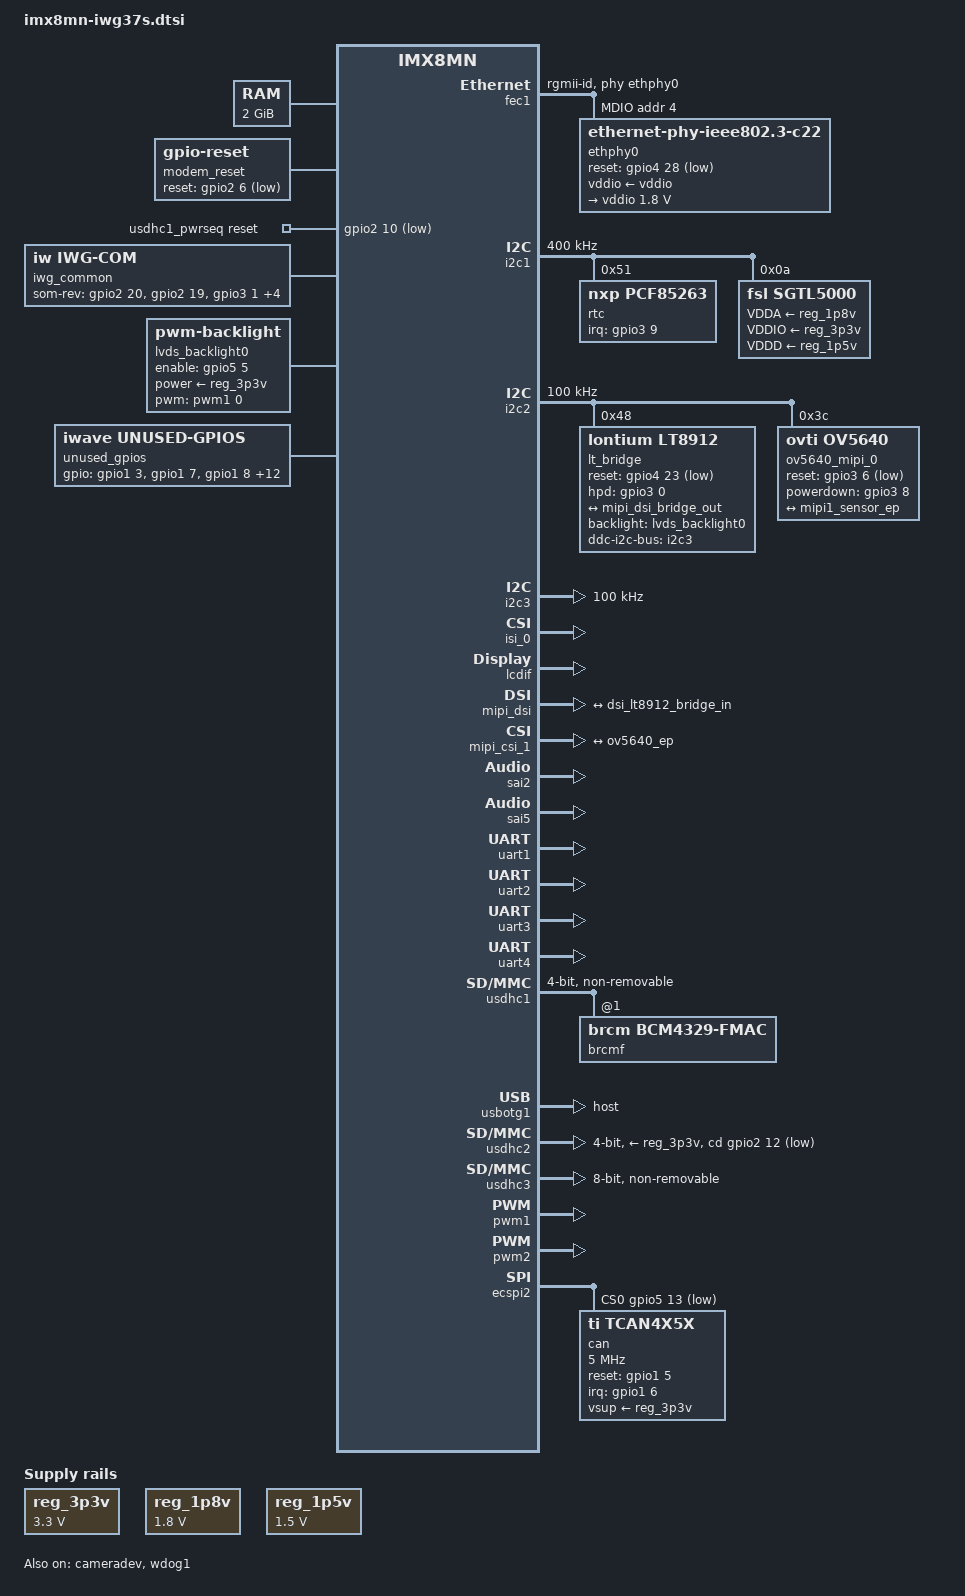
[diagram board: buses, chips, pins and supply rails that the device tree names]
/*
 * Copyright (c) 2022-23 iWave Systems Technologies Pvt. Ltd.
 *
 * This program is free software; you can redistribute it and/or
 * modify it under the terms of the GNU General Public License
 * as published by the Free Software Foundation; either version 2
 * of the License, or (at your option) any later version.
 *
 * This program is distributed in the hope that it will be useful,
 * but WITHOUT ANY WARRANTY; without even the implied warranty of
 * MERCHANTABILITY or FITNESS FOR A PARTICULAR PURPOSE.  See the
 * GNU General Public License for more details.
 */

#include <dt-bindings/usb/pd.h>
#include "imx8mn.dtsi"

/ {
	aliases { /* SD/MMC: eMMC/SD slot numbering fix */
		mmc0 = &usdhc3;
		mmc1 = &usdhc2;
		mmc2 = &usdhc1;
	};

	chosen {
		stdout-path = &uart4;
	};

	memory@40000000 { /* RAM: 2GB Memory support */
		device_type = "memory";
		reg = <0x0 0x40000000 0 0x80000000>;
	};

	modem_reset: modem-reset { /* BT: BT reset */
		compatible = "gpio-reset";
		reset-gpios = <&gpio2 6 GPIO_ACTIVE_LOW>;
		reset-delay-us = <2000>;
		reset-post-delay-ms = <40>;
		#reset-cells = <0>;
	};

	usdhc1_pwrseq: usdhc1_pwrseq { /* WIFI: WIFI power sequence */
		compatible = "mmc-pwrseq-simple";
		pinctrl-names = "default";
		pinctrl-0 = <&pinctrl_usdhc1_gpio>;
		reset-gpios = <&gpio2 10 GPIO_ACTIVE_LOW>;
	};

	clocks {
		#address-cells = <1>;
		#size-cells = <0>;

		hclk: hclock {
			compatible = "fixed-clock";
			#clock-cells = <0>;
			clock-frequency = <40000000>;
			clock-output-names = "hclk";
		};

		cclk: cclock {
			compatible = "fixed-clock";
			#clock-cells = <0>;
			clock-frequency = <40000000>;
			clock-output-names = "cclk";
		};
	};

	sound-hdmi { /* SAI2: HDMI Audio: Audio Codec support */
		compatible = "fsl,hdmi-audio-lt8912";
		model = "hdmi-audio";
		cpu-dai = <&sai2>;
		status = "okay";
	};

	sound { /* SAI5: SGTL5000: Audio Codec support */
		compatible = "simple-audio-card";
		simple-audio-card,name = "sgtl5000";
		simple-audio-card,format = "i2s";
		simple-audio-card,frame-master = <&codecdai>;
		simple-audio-card,bitclock-master = <&codecdai>;
		simple-audio-card,widgets =
			"Microphone", "Microphone Jack",
			"Headphone", "Headphone Jack",
			"Speaker", "Speaker Ext",
			"Line", "Line In Jack";
		simple-audio-card,routing =
			"MIC_IN", "Microphone Jack",
			"Microphone Jack", "Mic Bias",
			"LINE_IN", "Line In Jack",
			"Headphone Jack", "HP_OUT",
			"Speaker Ext", "LINE_OUT";

		simple-audio-card,cpu {
			sound-dai = <&sai5>;
		};

		codecdai: simple-audio-card,codec {
			sound-dai = <&sgtl5000>;
			clocks = <&clk IMX8MN_CLK_SAI5_ROOT>;
		};
	};

	iwg_common { /* SoC Board Setttings : Board Configuration GPIOs */
		compatible = "iw,iwg-com";
		pinctrl-names = "default";
		pcb_rev = <0>;
		bom_rev = <0>;
		carrier_bom = <0>;
		carrier_pcb = <0>;
		pinctrl-0 = <&pinctrl_board_cfg>;
		som-rev-gpios = <&gpio2 20 0 &gpio2 19 0 &gpio3 1 0 &gpio1 0 0 
			       &gpio1 10 0 &gpio1 11 0 &gpio1 9 0 >;
		status = "okay";
	};

	regulators {
		compatible = "simple-bus";
		#address-cells = <1>;
		#size-cells = <0>;

		reg_3p3v: 3p3v { /* Fixed Regulator: common 3.3V Fixed regulator */
			compatible = "regulator-fixed";
			regulator-name = "3P3V";
			regulator-min-microvolt = <3300000>;
			regulator-max-microvolt = <3300000>;
			regulator-always-on;
		};

		reg_1p8v: 1p8v { /* Fixed Regulator: common 1.8V Fixed regulator */
			compatible = "regulator-fixed";
			regulator-name = "1P8V";
			regulator-min-microvolt = <1800000>;
			regulator-max-microvolt = <1800000>;
			regulator-always-on;
		};

		reg_1p5v: 1p5v { /* Fixed Regulator: common 1.5V Fixed regulator */
			compatible = "regulator-fixed";
			regulator-name = "1P5V";
			regulator-min-microvolt = <1500000>;
			regulator-max-microvolt = <1500000>;
			regulator-always-on;
		};
	};

	lvds_backlight0: lvds_backlight { /* LVDS: LVDS Backlight */
		compatible = "pwm-backlight";
		pwms = <&pwm1 0 1000000>;
		power-supply = <&reg_3p3v>;
		pinctrl-names = "default";
		pinctrl-0 = <&pinctrl_pwr>;
		enable-gpios = <&gpio5 5 GPIO_ACTIVE_HIGH>;
		status = "okay";

		brightness-levels = < 0  1  2  3  4  5  6  7  8  9
				     10 11 12 13 14 15 16 17 18 19
				     20 21 22 23 24 25 26 27 28 29
				     30 31 32 33 34 35 36 37 38 39
				     40 41 42 43 44 45 46 47 48 49
				     50 51 52 53 54 55 56 57 58 59
				     60 61 62 63 64 65 66 67 68 69
				     70 71 72 73 74 75 76 77 78 79
				     80 81 82 83 84 85 86 87 88 89
				     90 91 92 93 94 95 96 97 98 99
				    100>;
		default-brightness-level = <100>;
	};

	unused_gpios: unused_gpios { /* GPIO: Setting Unused GPIOs as input pins */
		compatible = "iwave,unused-gpios";
		pinctrl-names = "default";
		pinctrl-0 = <&pinctrl_unused_gpio>;
		status = "okay";
	};
};

&cameradev {
	status = "okay";
};

&fec1 { /* FEC1: AR8031 PHY ENET */
	pinctrl-names = "default";
	pinctrl-0 = <&pinctrl_fec1>;
	phy-mode = "rgmii-id";
	phy-handle = <&ethphy0>;
	fsl,magic-packet;
	status = "okay";

	mdio {
		#address-cells = <1>;
		#size-cells = <0>;

		ethphy0: ethernet-phy@4 {
			compatible = "ethernet-phy-ieee802.3-c22";
			reg = <4>;
			reset-gpios = <&gpio4 28 GPIO_ACTIVE_LOW>;
                        qca,disable-smarteee;
                        vddio-supply = <&vddio>;

                        vddio: vddio-regulator {
                                regulator-min-microvolt = <1800000>;
                                regulator-max-microvolt = <1800000>;
                        };
		};
	};
};

&i2c1 { /* I2C1 Bus */
	clock-frequency = <400000>;
	pinctrl-names = "default";
	pinctrl-0 = <&pinctrl_i2c1>;
	status = "okay";

	rtc: rtc@51 { /* RTC: PCF85263 RTC */
		reg = <0x51>;
		compatible = "nxp,pcf85263";
		pinctrl-names = "default";
		pinctrl-0 = <&pinctrl_rtc>;
		interrupt-parent = <&gpio3>;
		interrupts = <9 IRQ_TYPE_LEVEL_LOW>;
		status = "okay";
	};

	sgtl5000: sgtl5000@a { /* Audio: SGTL5000 Audio Codec */
		compatible = "fsl,sgtl5000";
		reg = <0x0a>;
		#sound-dai-cells = <0>;
		clocks = <&clk IMX8MN_CLK_SAI5_ROOT>;
		assigned-clocks = <&clk IMX8MN_CLK_SAI5>;
		assigned-clock-parents = <&clk IMX8MN_AUDIO_PLL1_OUT>;
		assigned-clock-rates = <24576000>;
		VDDA-supply = <&reg_1p8v>;
		VDDIO-supply = <&reg_3p3v>;
		VDDD-supply = <&reg_1p5v>;
		status = "okay";
	};
};

&i2c2 { /* I2C2 Bus */
	clock-frequency = <100000>; /* Since Display bridge is connected in this i2c bus, it's max i2c speed is 100KHz */
	pinctrl-names = "default";
	pinctrl-0 = <&pinctrl_i2c2>;
	status = "okay";

	lt_bridge: lt8912@48 { /* LT8912: MIPI-DSI to HDMI/LVDS Bridge */
		compatible = "lontium,lt8912";
		reg = <0x48>;
		pinctrl-names = "default";
		pinctrl-0 = <&pinctrl_lt8912>;
		ddc-i2c-bus = <&i2c3>;
		reset-gpios = <&gpio4 23 GPIO_ACTIVE_LOW>;
		hpd-gpios = <&gpio3 0 GPIO_ACTIVE_HIGH>;
		digi,dsi-lanes = <4>;
		backlight = <&lvds_backlight0>;
		status = "okay";

	display-timings {
		native-mode = <&timing0>;
		timing0: timing0 {
			clock-frequency = <70000000>;
			hactive = <1280>;
			vactive = <800>;
			hback-porch = <70>;
			hfront-porch = <70>;
			vback-porch = <8>;
			vfront-porch = <8>;
			hsync-len = <20>;
			vsync-len = <7>;
			hsync-active = <0>;
			vsync-active = <0>;
			de-active = <0>;
			pixelclk-active = <0>;
		};
	};

	port {
		dsi_lt8912_bridge_in: endpoint {
			remote-endpoint = <&mipi_dsi_bridge_out>;
			};
		};
	};

	ov5640_mipi_0: ov5640_mipi@3c { /* MIPI CSI: OV5640 Camera */
		compatible = "ovti,ov5640";
		reg = <0x3c>;
		pinctrl-names = "default";
		pinctrl-0 = <&pinctrl_csi_rst>;
		clocks = <&clk IMX8MN_CLK_CLKO1>;
		clock-names = "xclk";
		assigned-clocks = <&clk IMX8MN_CLK_CLKO1>;
		assigned-clock-parents = <&clk IMX8MN_CLK_24M>;
		assigned-clock-rates = <24000000>;
		csi_id = <0>;
		reset-gpios = <&gpio3 6 GPIO_ACTIVE_LOW>;
		powerdown-gpios = <&gpio3 8 GPIO_ACTIVE_HIGH>;
		mclk = <24000000>;
		mclk_source = <0>;
		mipi_csi;
		status = "okay";
		port {
			ov5640_ep: endpoint {
				remote-endpoint = <&mipi1_sensor_ep>;
				data-lanes = <1 2>;
				clocks-lanes = <0>;
			};
		};
	};
};

&i2c3 { /* I2C3 Bus */
	clock-frequency = <100000>; /* Since HDMI DDC is connected to this i2c bus, it's max i2c speed is 100KHz */
	pinctrl-names = "default";
	pinctrl-0 = <&pinctrl_i2c3>;
	status = "okay";
};

&isi_0 {
	status = "okay";

	cap_device {
		status = "okay";
	};
};

&lcdif {
	status = "okay";
};

&mipi_dsi { /* MIPI DSI: HDMI/LVDS Display */
	status = "okay";

	port@1 {
		mipi_dsi_bridge_out: endpoint {
			remote-endpoint = <&dsi_lt8912_bridge_in>;
			attach-bridge;
		};
	};
};

&mipi_csi_1 { /* MIPI CSI: OV5640 MIPI Camera */
	#address-cells = <1>;
	#size-cells = <0>;
	status = "okay";
	port@0 {
		reg = <0>;
		mipi1_sensor_ep: endpoint {
			remote-endpoint = <&ov5640_ep>;
			data-lanes = <2>;
			csis-hs-settle = <13>;
			csis-clk-settle = <2>;
			csis-wclk;
		};
	};
};

&sai2 { /* SAI2: Serial Audio Interface for Audio Codec */
	pinctrl-names = "default";
	pinctrl-0 = <&pinctrl_sai2>;
	assigned-clocks = <&clk IMX8MN_CLK_SAI2>;
	assigned-clock-parents = <&clk IMX8MN_AUDIO_PLL1_OUT>;
	assigned-clock-rates = <49152000>;
	clocks = <&clk IMX8MN_CLK_SAI2_IPG>, <&clk IMX8MN_CLK_DUMMY>,
		<&clk IMX8MN_CLK_SAI2_ROOT>, <&clk IMX8MN_CLK_DUMMY>,
		<&clk IMX8MN_CLK_DUMMY>, <&clk IMX8MN_AUDIO_PLL1_OUT>,
		<&clk IMX8MN_AUDIO_PLL2_OUT>;
	clock-names = "bus", "mclk0", "mclk1", "mclk2", "mclk3", "pll8k", "pll11k";
	fsl,sai-asynchronous;
	status = "okay";
};

&sai5 { /* SAI5: Serial Audio Interface for Audio Codec */
	#sound-dai-cells = <0>;
	pinctrl-names = "default";
	pinctrl-0 = <&pinctrl_sai5>;
	assigned-clocks = <&clk IMX8MN_CLK_SAI5>;
	assigned-clock-parents = <&clk IMX8MN_AUDIO_PLL1_OUT>;
	assigned-clock-rates = <49152000>;
	clocks = <&clk IMX8MN_CLK_SAI5_IPG>, <&clk IMX8MN_CLK_DUMMY>,
		<&clk IMX8MN_CLK_SAI5_ROOT>, <&clk IMX8MN_CLK_DUMMY>,
		<&clk IMX8MN_CLK_DUMMY>, <&clk IMX8MN_AUDIO_PLL1_OUT>,
		<&clk IMX8MN_AUDIO_PLL2_OUT>;
	clock-names = "bus", "mclk0", "mclk1", "mclk2", "mclk3", "pll8k", "pll11k";
        fsl,sai-multi-lane;
        dmas = <&sdma2 8 25 0>, <&sdma2 9 25 0>;
	status = "okay";
};

&uart1 { /* UART1: BT */
	pinctrl-names = "default";
	pinctrl-0 = <&pinctrl_uart1>;
	assigned-clocks = <&clk IMX8MN_CLK_UART1>;
	assigned-clock-parents = <&clk IMX8MN_SYS_PLL1_80M>;
	fsl,uart-has-rtscts;
	resets = <&modem_reset>;
	status = "okay";
};

&uart2 { /* UART2: DATA UART */
	pinctrl-names = "default";
	pinctrl-0 = <&pinctrl_uart2>;
	fsl,uart-has-rtscts;
	status = "okay";
};

&uart3 { /* UART3: GNSS */
	pinctrl-names = "default";
	pinctrl-0 = <&pinctrl_uart3>;
	assigned-clocks = <&clk IMX8MN_CLK_UART3>;
	assigned-clock-parents = <&clk IMX8MN_SYS_PLL1_80M>;
	status = "okay";
};

&uart4 { /* UART4: Debug UART */
	pinctrl-names = "default";
	pinctrl-0 = <&pinctrl_uart4>;
	status = "okay";
};

&usdhc1 { /* USDHC1: WiFi */
	#address-cells = <1>;
	#size-cells = <0>;
	pinctrl-names = "default", "state_100mhz", "state_200mhz";
	pinctrl-0 = <&pinctrl_usdhc1>, <&pinctrl_wlan>;
	pinctrl-1 = <&pinctrl_usdhc1_100mhz>, <&pinctrl_wlan>;
	pinctrl-2 = <&pinctrl_usdhc1_200mhz>, <&pinctrl_wlan>;
	bus-width = <4>;
	keep-power-in-suspend;
	non-removable;
	wakeup-source;
	/delete-property/ vmmc-supply;
	mmc-pwrseq = <&usdhc1_pwrseq>;
  	fsl,sdio-async-interrupt-enabled;
	status = "okay";

	brcmf: bcrmf@1 {
		compatible = "brcm,bcm4329-fmac";
		status = "okay";
	};
};

&usbotg1 { /* USB: USB Host (2 ports via HUB) */
	dr_mode = "host";
	disable-over-current;
	status = "okay";
};

&usdhc2 { /* USDHC2: Micro SD */
	assigned-clocks = <&clk IMX8MN_CLK_USDHC2>;
	assigned-clock-rates = <200000000>;
	pinctrl-names = "default", "state_100mhz", "state_200mhz";
	pinctrl-0 = <&pinctrl_usdhc2>, <&pinctrl_usdhc2_gpio>;
	pinctrl-1 = <&pinctrl_usdhc2_100mhz>, <&pinctrl_usdhc2_gpio>;
	pinctrl-2 = <&pinctrl_usdhc2_200mhz>, <&pinctrl_usdhc2_gpio>;
	cd-gpios = <&gpio2 12 GPIO_ACTIVE_LOW>;
	bus-width = <4>;
	vmmc-supply = <&reg_3p3v>;
	status = "okay";
};

&usdhc3 { /* USDHC3: EMMC */
	assigned-clocks = <&clk IMX8MN_CLK_USDHC3_ROOT>;
	assigned-clock-rates = <400000000>;
	pinctrl-names = "default", "state_100mhz", "state_200mhz";
	pinctrl-0 = <&pinctrl_usdhc3>;
	pinctrl-1 = <&pinctrl_usdhc3_100mhz>;
	pinctrl-2 = <&pinctrl_usdhc3_200mhz>;
	bus-width = <8>;
	non-removable;
	status = "okay";
};

&wdog1 { /* Watchdog */
	pinctrl-names = "default";
	pinctrl-0 = <&pinctrl_wdog>;
	fsl,ext-reset-output;
	status = "okay";
};

&pwm1 { /* PWM */
	pinctrl-names = "default";
	pinctrl-0 = <&pinctrl_pwm>;
	status = "okay";
};

&pwm2 { /* PWM */
	pinctrl-names = "default";
	pinctrl-0 = <&pinctrl_pwm2>;
	status = "okay";
};

&ecspi2{ /* ECSPI2 */
	pinctrl-names = "default";
	pinctrl-0 = <&pinctrl_ecspi2>;
	spi-max-frequency = <20000000>;
	cs-gpios = <&gpio5 13 GPIO_ACTIVE_LOW>;
	fsl,spi-num-chipselects = <1>;
	status = "okay";

	can: can@0 {
		compatible = "ti,tcan4x5x";
		reg = <0>;
		pinctrl-names = "default";
		pinctrl-0 = <&pinctrl_can>;
		interrupt-parent = <&gpio1>;
		interrupts = <6 IRQ_TYPE_LEVEL_LOW>;
		clocks = <&hclk>, <&cclk>;
		clock-names = "hclk", "cclk";
		#address-cells = <1>;
		#size-cells = <1>;
		spi-max-frequency = <5000000>;
		bosch,mram-cfg = <0x0 0 0 32 0 0 1 1>;
		reset-gpios = <&gpio1 5 GPIO_ACTIVE_HIGH>;
		vsup-supply = <&reg_3p3v>;
	};
};

&unused_gpios { /* GPIO: iWave Unused GPIO pins */
	gpios = <&gpio1 3 0>,
	      <&gpio1 7 0>,
	      <&gpio1 8 0>,
	      <&gpio1 12 0>,
	      <&gpio1 13 0>,
	      <&gpio1 14 0>,
	      <&gpio2 11 0>,
	      <&gpio3 7 0>,
	      <&gpio4 21 0>,
	      <&gpio4 22 0>,
	      <&gpio4 27 0>,
	      <&gpio5 3 0>,
	      <&gpio5 8 0>,
	      <&gpio5 24 0>,
	      <&gpio5 25 0>;
};

&iomuxc {
	pinctrl-names = "default";
	pinctrl-0 = <&pinctrl_expansion>;

	imx8mn-iwg37s {
		pinctrl_lt8912: lt8912grp { /* LT8912 Bridge: IOMUX Pin Configuration */
			fsl,pins = <
				MX8MN_IOMUXC_SAI2_RXD0_GPIO4_IO23		0x19 /* Interrupt GPIO */
				MX8MN_IOMUXC_NAND_ALE_GPIO3_IO0			0x19 /* Reset GPIO */
			>;
		};

		pinctrl_csi_rst: csi_rst_grp { /* MIPI CSI: OV5640 Camera IOMUX Pin Configuration */
			fsl,pins = <
				MX8MN_IOMUXC_NAND_DATA00_GPIO3_IO6		0x19 /* OV5640 Camera Reset GPIO */
				MX8MN_IOMUXC_NAND_DATA02_GPIO3_IO8		0x19 /* OV5640 Power Down GPIO */
			>;
		};

		pinctrl_fec1: fec1grp { /* Ethernet: IOMUX Pin Configuration */
			fsl,pins = <
				MX8MN_IOMUXC_ENET_MDC_ENET1_MDC			0x3
				MX8MN_IOMUXC_ENET_MDIO_ENET1_MDIO		0x3
				MX8MN_IOMUXC_ENET_TD3_ENET1_RGMII_TD3		0x1f
				MX8MN_IOMUXC_ENET_TD2_ENET1_RGMII_TD2		0x1f
				MX8MN_IOMUXC_ENET_TD1_ENET1_RGMII_TD1		0x1f
				MX8MN_IOMUXC_ENET_TD0_ENET1_RGMII_TD0		0x1f
				MX8MN_IOMUXC_ENET_RD3_ENET1_RGMII_RD3		0x91
				MX8MN_IOMUXC_ENET_RD2_ENET1_RGMII_RD2		0x91
				MX8MN_IOMUXC_ENET_RD1_ENET1_RGMII_RD1		0x91
				MX8MN_IOMUXC_ENET_RD0_ENET1_RGMII_RD0		0x91
				MX8MN_IOMUXC_ENET_TXC_ENET1_RGMII_TXC		0x1f
				MX8MN_IOMUXC_ENET_RXC_ENET1_RGMII_RXC		0x91
				MX8MN_IOMUXC_ENET_RX_CTL_ENET1_RGMII_RX_CTL	0x91
				MX8MN_IOMUXC_ENET_TX_CTL_ENET1_RGMII_TX_CTL	0x1f
				MX8MN_IOMUXC_SAI5_RXC_GPIO3_IO20		0x19 /* Ethernet Wake on LAN */
				MX8MN_IOMUXC_SAI5_RXFS_GPIO3_IO19		0x19 /* Ethernet Interrupt */
				MX8MN_IOMUXC_SAI3_RXFS_GPIO4_IO28		0x19 /* Ethernet Reset GPIO */
			>;
		};

		pinctrl_i2c1: i2c1grp { /* I2C1: IOMUX Pin Configuration */
			fsl,pins = <
				MX8MN_IOMUXC_I2C1_SCL_I2C1_SCL		0x400001c3
				MX8MN_IOMUXC_I2C1_SDA_I2C1_SDA		0x400001c3
			>;
		};

		pinctrl_i2c2: i2c2grp { /* I2C2: IOMUX Pin Configuration */
			fsl,pins = <
				MX8MN_IOMUXC_I2C2_SCL_I2C2_SCL		0x400001c3
				MX8MN_IOMUXC_I2C2_SDA_I2C2_SDA		0x400001c3
			>;
		};

		pinctrl_i2c3: i2c3grp { /* I2C3: IOMUX Pin Configuration */
			fsl,pins = <
				MX8MN_IOMUXC_I2C3_SCL_I2C3_SCL		0x400001c3
				MX8MN_IOMUXC_I2C3_SDA_I2C3_SDA		0x400001c3
			>;
		};

		pinctrl_can: cangrp { /* CAN: IOMUX Pin Configuration */
			fsl,pins = <
				MX8MN_IOMUXC_GPIO1_IO05_GPIO1_IO5               0x41 /* CAN Interrupt GPIO */
				MX8MN_IOMUXC_GPIO1_IO06_GPIO1_IO6               0x41 /* CAN Reset GPIO */
			>;
		};

		pinctrl_pmic: pmicirqgrp { /* PMIC: IOMUX Pin Configuration */
			fsl,pins = <
				MX8MN_IOMUXC_NAND_DQS_GPIO3_IO14	0x141 /* PMIC Interrupt GPIO */
			>;
		};

		pinctrl_rtc: rtcirq { /* RTC: IOMUX Pin Configuration */
			fsl,pins = <
				MX8MN_IOMUXC_NAND_DATA03_GPIO3_IO9	0x41 /* RTC Interrupt GPIO */
			>;
		};

		pinctrl_sai2: sai2grp { /* SAI2: IOMUX Pin Configuration */
			fsl,pins = <
				MX8MN_IOMUXC_SAI2_TXC_SAI2_TX_BCLK      0xd6
				MX8MN_IOMUXC_SAI2_TXFS_SAI2_TX_SYNC     0xd6
				MX8MN_IOMUXC_SAI2_TXD0_SAI2_TX_DATA0    0xd6
			>;
		};

		pinctrl_sai5: sai5grp { /* SAI5: IOMUX Pin Configuration */
			fsl,pins = <
				MX8MN_IOMUXC_SAI5_RXD2_SAI5_TX_BCLK	0xd6
				MX8MN_IOMUXC_SAI5_RXD1_SAI5_TX_SYNC     0xd6
				MX8MN_IOMUXC_SAI5_RXD3_SAI5_TX_DATA0    0xd6
				MX8MN_IOMUXC_SAI5_RXD0_SAI5_RX_DATA0    0xd6
				MX8MN_IOMUXC_SAI5_MCLK_SAI5_MCLK	0xd6
			>;
		};

		pinctrl_uart1: uart1grp { /* UART1: Bluetooth: IOMUX Pin Configuration */
			fsl,pins = <
				MX8MN_IOMUXC_UART1_RXD_UART1_DCE_RX	0x140
				MX8MN_IOMUXC_UART1_TXD_UART1_DCE_TX	0x140
				MX8MN_IOMUXC_UART3_RXD_UART1_DCE_CTS_B	0x140
				MX8MN_IOMUXC_UART3_TXD_UART1_DCE_RTS_B	0x140
				MX8MN_IOMUXC_SD1_DATA4_GPIO2_IO6	0x19 /* Bluetooth reset GPIO */
				MX8MN_IOMUXC_SD1_DATA5_GPIO2_IO7	0x19 /* Bluetooth Device Wake GPIO */
				MX8MN_IOMUXC_SD1_DATA6_GPIO2_IO8	0x19 /* Bluetooth Host Wake GPIO */
			>;
		};

		pinctrl_uart2: uart2grp { /* UART2: DATA UART: IOMUX Pin Configuration */
			fsl,pins = <
				MX8MN_IOMUXC_SAI3_TXC_UART2_DCE_TX	0x140
				MX8MN_IOMUXC_SAI3_TXFS_UART2_DCE_RX	0x140
				MX8MN_IOMUXC_SAI3_RXC_UART2_DCE_CTS_B	0x140
				MX8MN_IOMUXC_SAI3_RXD_UART2_DCE_RTS_B	0x140
			>;
		};

		pinctrl_uart3: uart3grp { /* UART3: GNSS: IOMUX Pin Configuration */
			fsl,pins = <
				MX8MN_IOMUXC_ECSPI1_SCLK_UART3_DCE_RX	0x140 /* Expansion connector Pin 18 (optionally used for GNSS ) */
				MX8MN_IOMUXC_ECSPI1_MOSI_UART3_DCE_TX	0x140 /* Expansion connector Pin 16 (optionally used for GNSS ) */
				MX8MN_IOMUXC_ECSPI1_SS0_UART3_DCE_RTS_B	0x140 /* Expansion connector Pin 36 (optionally used for GNSS ) */
			>;
		};

		pinctrl_uart4: uart4grp { /* UART4: Debug UART: IOMUX Pin Configuration */
			fsl,pins = <
				MX8MN_IOMUXC_UART4_RXD_UART4_DCE_RX		0x140
				MX8MN_IOMUXC_UART4_TXD_UART4_DCE_TX		0x140
			>;
		};

		pinctrl_usdhc1_gpio: usdhc1grpgpio { /* USDHC1: WiFi: IOMUX Pin Configuration */
			fsl,pins = <
				MX8MN_IOMUXC_SD1_RESET_B_GPIO2_IO10	0x41 /* WIFI Reset GPIO */
			>;
		};

		pinctrl_usdhc1: usdhc1grp { /* USDHC1: WiFi: IOMUX Pin Configuration */
			fsl,pins = <
				MX8MN_IOMUXC_SD1_CLK_USDHC1_CLK		0x190
				MX8MN_IOMUXC_SD1_CMD_USDHC1_CMD		0x1d0
				MX8MN_IOMUXC_SD1_DATA0_USDHC1_DATA0	0x1d0
				MX8MN_IOMUXC_SD1_DATA1_USDHC1_DATA1	0x1d0
				MX8MN_IOMUXC_SD1_DATA2_USDHC1_DATA2	0x1d0
				MX8MN_IOMUXC_SD1_DATA3_USDHC1_DATA3	0x1d0
			>;
		};

		pinctrl_usdhc1_100mhz: usdhc1grp100mhz {
			fsl,pins = <
				MX8MN_IOMUXC_SD1_CLK_USDHC1_CLK		0x194
				MX8MN_IOMUXC_SD1_CMD_USDHC1_CMD		0x1d4
				MX8MN_IOMUXC_SD1_DATA0_USDHC1_DATA0	0x1d4
				MX8MN_IOMUXC_SD1_DATA1_USDHC1_DATA1	0x1d4
				MX8MN_IOMUXC_SD1_DATA2_USDHC1_DATA2	0x1d4
				MX8MN_IOMUXC_SD1_DATA3_USDHC1_DATA3	0x1d4
			>;
		};

		pinctrl_usdhc1_200mhz: usdhc1grp200mhz {
			fsl,pins = <
				MX8MN_IOMUXC_SD1_CLK_USDHC1_CLK		0x196
				MX8MN_IOMUXC_SD1_CMD_USDHC1_CMD		0x1d6
				MX8MN_IOMUXC_SD1_DATA0_USDHC1_DATA0	0x1d6
				MX8MN_IOMUXC_SD1_DATA1_USDHC1_DATA1	0x1d6
				MX8MN_IOMUXC_SD1_DATA2_USDHC1_DATA2	0x1d6
				MX8MN_IOMUXC_SD1_DATA3_USDHC1_DATA3	0x1d6
			>;
		};

		pinctrl_usdhc2_gpio: usdhc2grpgpio {
			fsl,pins = <
				MX8MN_IOMUXC_SD2_CD_B_GPIO2_IO12	0x1c4
			>;
		};

		pinctrl_usdhc2: usdhc2grp { /* USDHC2: Micro SD: IOMUX Pin Configuration */
			fsl,pins = <
				MX8MN_IOMUXC_SD2_CLK_USDHC2_CLK		0x190
				MX8MN_IOMUXC_SD2_CMD_USDHC2_CMD		0x1d0
				MX8MN_IOMUXC_SD2_DATA0_USDHC2_DATA0	0x1d0
				MX8MN_IOMUXC_SD2_DATA1_USDHC2_DATA1	0x1d0
				MX8MN_IOMUXC_SD2_DATA2_USDHC2_DATA2	0x1d0
				MX8MN_IOMUXC_SD2_DATA3_USDHC2_DATA3	0x1d0
				MX8MN_IOMUXC_GPIO1_IO04_USDHC2_VSELECT	0x1d0
			>;
		};

		pinctrl_usdhc2_100mhz: usdhc2-100mhzgrp {
			fsl,pins = <
				MX8MN_IOMUXC_SD2_CLK_USDHC2_CLK		0x194
				MX8MN_IOMUXC_SD2_CMD_USDHC2_CMD		0x1d4
				MX8MN_IOMUXC_SD2_DATA0_USDHC2_DATA0	0x1d4
				MX8MN_IOMUXC_SD2_DATA1_USDHC2_DATA1	0x1d4
				MX8MN_IOMUXC_SD2_DATA2_USDHC2_DATA2	0x1d4
				MX8MN_IOMUXC_SD2_DATA3_USDHC2_DATA3	0x1d4
				MX8MN_IOMUXC_GPIO1_IO04_USDHC2_VSELECT	0x1d0
			>;
		};

		pinctrl_usdhc2_200mhz: usdhc2-200mhzgrp {
			fsl,pins = <
				MX8MN_IOMUXC_SD2_CLK_USDHC2_CLK		0x196
				MX8MN_IOMUXC_SD2_CMD_USDHC2_CMD		0x1d6
				MX8MN_IOMUXC_SD2_DATA0_USDHC2_DATA0	0x1d6
				MX8MN_IOMUXC_SD2_DATA1_USDHC2_DATA1	0x1d6
				MX8MN_IOMUXC_SD2_DATA2_USDHC2_DATA2	0x1d6
				MX8MN_IOMUXC_SD2_DATA3_USDHC2_DATA3	0x1d6
				MX8MN_IOMUXC_GPIO1_IO04_USDHC2_VSELECT	0x1d0
			>;
		};

		pinctrl_usdhc3: usdhc3grp { /* USDHC3: EMMC: IOMUX Pin Configuration*/
			fsl,pins = <
				MX8MN_IOMUXC_NAND_WE_B_USDHC3_CLK		0x40000190
				MX8MN_IOMUXC_NAND_WP_B_USDHC3_CMD		0x1d0
				MX8MN_IOMUXC_NAND_DATA04_USDHC3_DATA0		0x1d0
				MX8MN_IOMUXC_NAND_DATA05_USDHC3_DATA1		0x1d0
				MX8MN_IOMUXC_NAND_DATA06_USDHC3_DATA2		0x1d0
				MX8MN_IOMUXC_NAND_DATA07_USDHC3_DATA3		0x1d0
				MX8MN_IOMUXC_NAND_RE_B_USDHC3_DATA4		0x1d0
				MX8MN_IOMUXC_NAND_CE2_B_USDHC3_DATA5		0x1d0
				MX8MN_IOMUXC_NAND_CE3_B_USDHC3_DATA6		0x1d0
				MX8MN_IOMUXC_NAND_CLE_USDHC3_DATA7		0x1d0
				MX8MN_IOMUXC_NAND_READY_B_USDHC3_RESET_B	0x1d0
				MX8MN_IOMUXC_NAND_CE1_B_USDHC3_STROBE		0x190
			>;
		};

		pinctrl_usdhc3_100mhz: usdhc3-100mhzgrp {
			fsl,pins = <
				MX8MN_IOMUXC_NAND_WE_B_USDHC3_CLK		0x40000194
				MX8MN_IOMUXC_NAND_WP_B_USDHC3_CMD		0x1d4
				MX8MN_IOMUXC_NAND_DATA04_USDHC3_DATA0		0x1d4
				MX8MN_IOMUXC_NAND_DATA05_USDHC3_DATA1		0x1d4
				MX8MN_IOMUXC_NAND_DATA06_USDHC3_DATA2		0x1d4
				MX8MN_IOMUXC_NAND_DATA07_USDHC3_DATA3		0x1d4
				MX8MN_IOMUXC_NAND_RE_B_USDHC3_DATA4		0x1d4
				MX8MN_IOMUXC_NAND_CE2_B_USDHC3_DATA5		0x1d4
				MX8MN_IOMUXC_NAND_CE3_B_USDHC3_DATA6		0x1d4
				MX8MN_IOMUXC_NAND_CLE_USDHC3_DATA7		0x1d4
				MX8MN_IOMUXC_NAND_READY_B_USDHC3_RESET_B	0x1d4
				MX8MN_IOMUXC_NAND_CE1_B_USDHC3_STROBE		0x194
			>;
		};

		pinctrl_usdhc3_200mhz: usdhc3-200mhzgrp {
			fsl,pins = <
				MX8MN_IOMUXC_NAND_WE_B_USDHC3_CLK		0x40000196
				MX8MN_IOMUXC_NAND_WP_B_USDHC3_CMD		0x1d6
				MX8MN_IOMUXC_NAND_DATA04_USDHC3_DATA0		0x1d6
				MX8MN_IOMUXC_NAND_DATA05_USDHC3_DATA1		0x1d6
				MX8MN_IOMUXC_NAND_DATA06_USDHC3_DATA2		0x1d6
				MX8MN_IOMUXC_NAND_DATA07_USDHC3_DATA3		0x1d6
				MX8MN_IOMUXC_NAND_RE_B_USDHC3_DATA4		0x1d6
				MX8MN_IOMUXC_NAND_CE2_B_USDHC3_DATA5		0x1d6
				MX8MN_IOMUXC_NAND_CE3_B_USDHC3_DATA6		0x1d6
				MX8MN_IOMUXC_NAND_CLE_USDHC3_DATA7		0x1d6
				MX8MN_IOMUXC_NAND_READY_B_USDHC3_RESET_B	0x1d6
				MX8MN_IOMUXC_NAND_CE1_B_USDHC3_STROBE		0x196
			>;
		};

		pinctrl_wdog: wdoggrp { /* wdog0: IOMUX Pin Configuration */
			fsl,pins = <
				MX8MN_IOMUXC_GPIO1_IO02_WDOG1_WDOG_B		0x166
			>;
		};

		pinctrl_wlan: wlangrp {
			fsl,pins = <
				MX8MN_IOMUXC_SD1_DATA7_GPIO2_IO9		0x111
			>;
		};

		pinctrl_pwm: pwm { /* LVDS Backlight PWM IOMUX Pin Configuration */
			fsl,pins = <
				MX8MN_IOMUXC_I2C4_SDA_PWM1_OUT			0x19
			>;
		};

		pinctrl_pwm2: pwm2 { /* PWM-2: IOMUX Pin Configuration */
			fsl,pins = <
				MX8MN_IOMUXC_I2C4_SCL_PWM2_OUT                  0x19 /* Expansion connector Pin 32 */
			>;
		};

		pinctrl_ecspi2: ecspi2grp { /* ECSPI2: CAN IOMUX Pin Configuration */
			fsl,pins = <
				MX8MN_IOMUXC_ECSPI2_SCLK_ECSPI2_SCLK            0x140
				MX8MN_IOMUXC_ECSPI2_MOSI_ECSPI2_MOSI            0x140
				MX8MN_IOMUXC_ECSPI2_MISO_ECSPI2_MISO            0x140  
				MX8MN_IOMUXC_ECSPI2_SS0_GPIO5_IO13		0x41
			>;
		};

		pinctrl_board_cfg: brd_cfg { /* SoC Board Settings: IOMUX Pin Configuration */
			fsl,pins = <
				MX8MN_IOMUXC_SD2_WP_GPIO2_IO20			0x1d0
				MX8MN_IOMUXC_SD2_RESET_B_GPIO2_IO19		0x1d5
				MX8MN_IOMUXC_NAND_CE0_B_GPIO3_IO1		0x1d5
				MX8MN_IOMUXC_GPIO1_IO00_GPIO1_IO0		0x1d5
				MX8MN_IOMUXC_GPIO1_IO10_GPIO1_IO10		0x1d5
				MX8MN_IOMUXC_GPIO1_IO11_GPIO1_IO11		0x1d5
				MX8MN_IOMUXC_GPIO1_IO09_GPIO1_IO9		0x1d5
			>;
		};

		pinctrl_pwr:pwr { /* LVDS Backlight IOMUX Pin Configuration */
			fsl,pins = <
				MX8MN_IOMUXC_SPDIF_EXT_CLK_GPIO5_IO5		0x140
			>; 
		};

		pinctrl_unused_gpio: unused_gpiogrp{ /* Unused GPIO IOMUX Pin Configuration */
			fsl,pins = <
				MX8MN_IOMUXC_GPIO1_IO03_GPIO1_IO3	0x41
				MX8MN_IOMUXC_GPIO1_IO07_GPIO1_IO7	0x41
				MX8MN_IOMUXC_GPIO1_IO08_GPIO1_IO8	0x41
				MX8MN_IOMUXC_GPIO1_IO12_GPIO1_IO12	0x140 /* Unused gpio (optionally used as GNSS Time pulse GPIO) */
				MX8MN_IOMUXC_GPIO1_IO13_GPIO1_IO13	0x41
				MX8MN_IOMUXC_GPIO1_IO14_GPIO1_IO14	0x140 /* Unused gpio (optionally used as GNSS Reset GPIO) */
				MX8MN_IOMUXC_SD1_STROBE_GPIO2_IO11	0x41
				MX8MN_IOMUXC_NAND_DATA01_GPIO3_IO7	0x41
				MX8MN_IOMUXC_SAI2_RXFS_GPIO4_IO21       0x41
				MX8MN_IOMUXC_SAI2_RXC_GPIO4_IO22        0x41
				MX8MN_IOMUXC_SAI2_MCLK_GPIO4_IO27       0x41
				MX8MN_IOMUXC_SPDIF_TX_GPIO5_IO3         0x41
				MX8MN_IOMUXC_ECSPI1_MISO_GPIO5_IO8      0x146
				MX8MN_IOMUXC_UART2_RXD_GPIO5_IO24       0x41
				MX8MN_IOMUXC_UART2_TXD_GPIO5_IO25       0x41
			>;
		};

		pinctrl_expansion: expansiongrp { /* Expansion connector IOMUX configuration */
			fsl,pins = <
				/* GPIOs */
				MX8MN_IOMUXC_GPIO1_IO15_GPIO1_IO15	0x41    /* Expansion Pin 37 */
				MX8MN_IOMUXC_SAI3_TXD_GPIO5_IO1		0x41    /* Expansion Pin 07 */
				MX8MN_IOMUXC_SPDIF_RX_GPIO5_IO4		0x41    /* Expansion Pin 29 */
			>;
		};
	};
};
